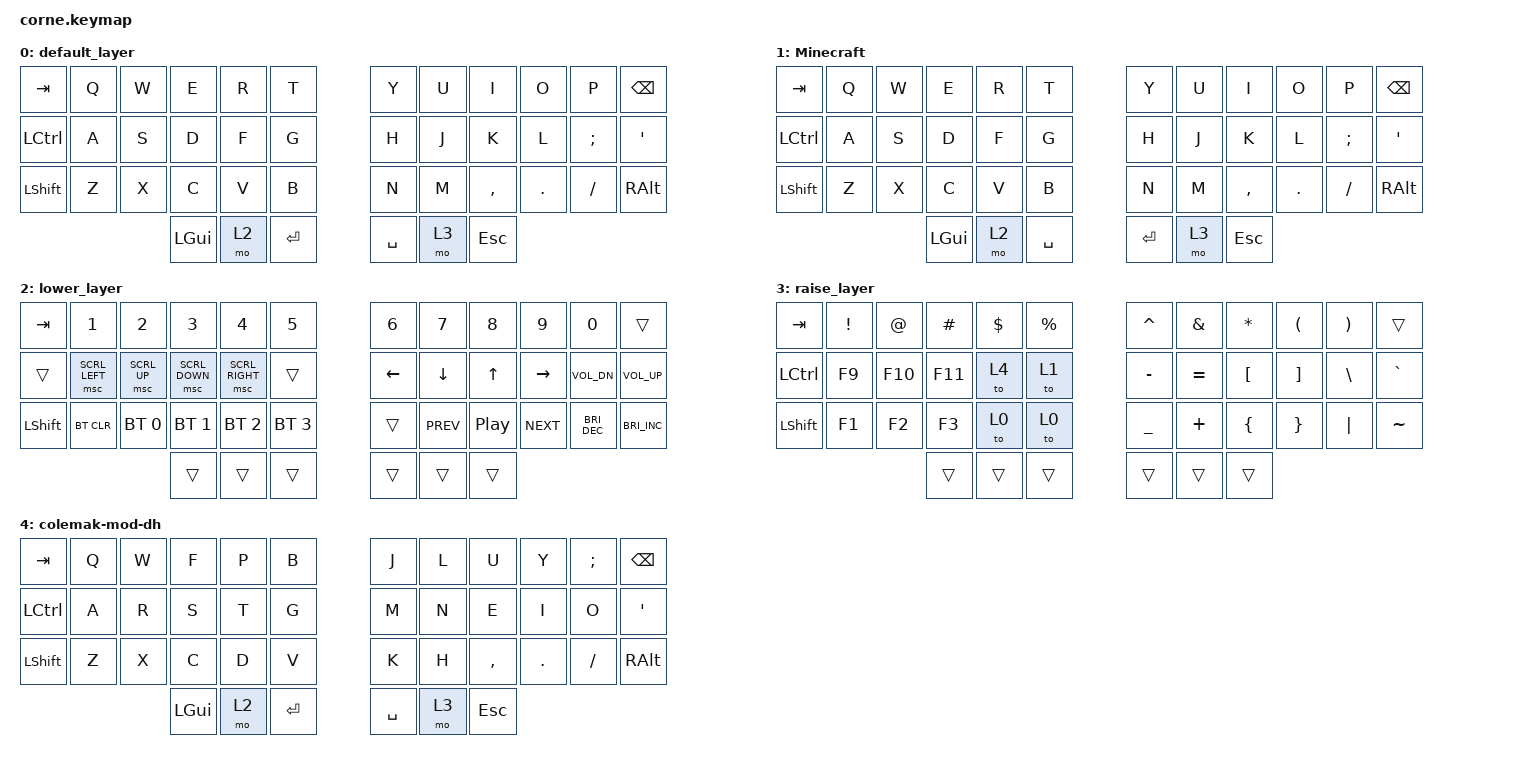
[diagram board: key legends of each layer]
/*
 * Copyright (c) 2020 The ZMK Contributors
 *
 * SPDX-License-Identifier: MIT
 */

#include <behaviors.dtsi>
#include <dt-bindings/zmk/bt.h>
#include <dt-bindings/zmk/keys.h>
#include <dt-bindings/zmk/pointing.h>

/ {
    keymap {
        compatible = "zmk,keymap";

        default_layer {
            // -----------------------------------------------------------------------------------------
            // |  TAB |  Q  |  W  |  E  |  R  |  T  |   |  Y  |  U   |  I  |  O  |  P  | BSPC |
            // | CTRL |  A  |  S  |  D  |  F  |  G  |   |  H  |  J   |  K  |  L  |  ;  |  '   |
            // | SHFT |  Z  |  X  |  C  |  V  |  B  |   |  N  |  M   |  ,  |  .  |  /  | ESC  |
            //                    | GUI | LWR | SPC |   | ENT | RSE  | ALT |

            bindings = <
&kp TAB    &kp Q  &kp W  &kp E     &kp R  &kp T        &kp Y      &kp U  &kp I       &kp O    &kp P     &kp BACKSPACE
&kp LCTRL  &kp A  &kp S  &kp D     &kp F  &kp G        &kp H      &kp J  &kp K       &kp L    &kp SEMI  &kp SQT
&kp LSHFT  &kp Z  &kp X  &kp C     &kp V  &kp B        &kp N      &kp M  &kp COMMA   &kp DOT  &kp FSLH  &kp RIGHT_ALT
                         &kp LGUI  &mo 2  &kp ENTER    &kp SPACE  &mo 3  &kp ESCAPE
            >;
        };

        Minecraft {
            bindings = <
&kp TAB    &kp Q  &kp W  &kp E     &kp R  &kp T        &kp Y      &kp U  &kp I       &kp O    &kp P     &kp BACKSPACE
&kp LCTRL  &kp A  &kp S  &kp D     &kp F  &kp G        &kp H      &kp J  &kp K       &kp L    &kp SEMI  &kp SQT
&kp LSHFT  &kp Z  &kp X  &kp C     &kp V  &kp B        &kp N      &kp M  &kp COMMA   &kp DOT  &kp FSLH  &kp RIGHT_ALT
                         &kp LGUI  &mo 2  &kp SPACE    &kp ENTER  &mo 3  &kp ESCAPE
            >;
        };

        lower_layer {
            // -----------------------------------------------------------------------------------------
            // |  TAB |  1  |  2  |  3  |  4  |  5  |   |  6  |  7  |  8  |  9  |  0  | BSPC |
            // | BTCLR| BT1 | BT2 | BT3 | BT4 | BT5 |   | LFT | DWN |  UP | RGT |     |      |
            // | SHFT |     |     |     |     |     |   |     |     |     |     |     |      |
            //                    | GUI |     | SPC |   | ENT |     | ALT |

            bindings = <
&kp TAB    &kp N1          &kp N2        &kp N3          &kp N4           &kp N5          &kp N6    &kp N7      &kp N8            &kp N9      &kp N0                &trans
&trans     &msc SCRL_LEFT  &msc SCRL_UP  &msc SCRL_DOWN  &msc SCRL_RIGHT  &trans          &kp LEFT  &kp DOWN    &kp UP            &kp RIGHT   &kp C_VOL_DN          &kp C_VOL_UP
&kp LSHFT  &bt BT_CLR      &bt BT_SEL 0  &bt BT_SEL 1    &bt BT_SEL 2     &bt BT_SEL 3    &trans    &kp C_PREV  &kp C_PLAY_PAUSE  &kp C_NEXT  &kp C_BRIGHTNESS_DEC  &kp C_BRIGHTNESS_INC
                                         &trans          &trans           &trans          &trans    &trans      &trans
            >;
        };

        raise_layer {
            // -----------------------------------------------------------------------------------------
            // |  TAB |  !  |  @  |  #  |  $  |  %  |   |  ^  |  &  |  *  |  (  |  )  | BSPC |
            // | CTRL |     |     |     |     |     |   |  -  |  =  |  [  |  ]  |  \  |  `   |
            // | SHFT |     |     |     |     |     |   |  _  |  +  |  {  |  }  | "|" |  ~   |
            //                    | GUI |     | SPC |   | ENT |     | ALT |

            bindings = <
&kp TAB    &kp EXCL  &kp AT   &kp HASH  &kp DLLR  &kp PRCNT    &kp CARET  &kp AMPS   &kp ASTRK  &kp LPAR  &kp RPAR  &trans
&kp LCTRL  &kp F9    &kp F10  &kp F11   &to 4     &to 1        &kp MINUS  &kp EQUAL  &kp LBKT   &kp RBKT  &kp BSLH  &kp GRAVE
&kp LSHFT  &kp F1    &kp F2   &kp F3    &to 0     &to 0        &kp UNDER  &kp PLUS   &kp LBRC   &kp RBRC  &kp PIPE  &kp TILDE
                              &trans    &trans    &trans       &trans     &trans     &trans
            >;
        };

        colemak-mod-dh {
            bindings = <
&kp TAB    &kp Q  &kp W  &kp F     &kp P  &kp B        &kp J      &kp L  &kp U       &kp Y    &kp SEMICOLON  &kp BACKSPACE
&kp LCTRL  &kp A  &kp R  &kp S     &kp T  &kp G        &kp M      &kp N  &kp E       &kp I    &kp O          &kp SQT
&kp LSHFT  &kp Z  &kp X  &kp C     &kp D  &kp V        &kp K      &kp H  &kp COMMA   &kp DOT  &kp FSLH       &kp RIGHT_ALT
                         &kp LGUI  &mo 2  &kp ENTER    &kp SPACE  &mo 3  &kp ESCAPE
            >;
        };
    };
};
